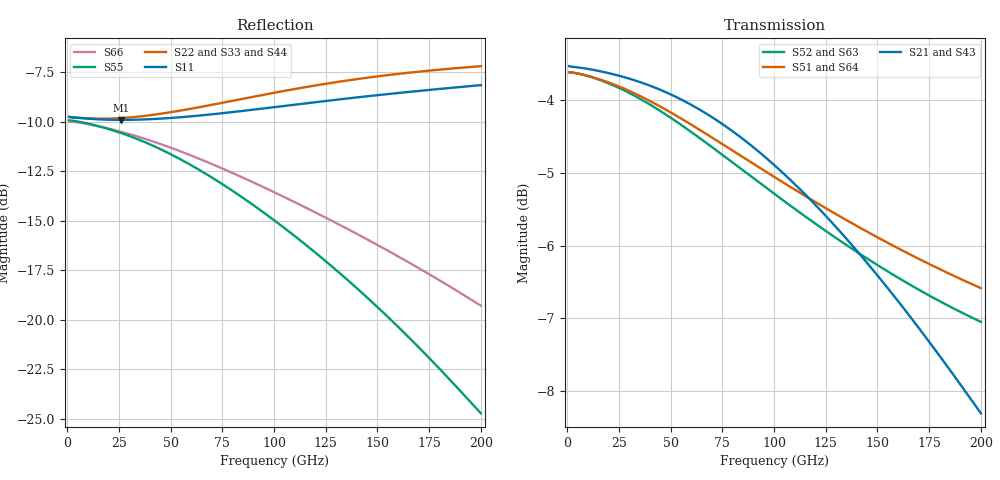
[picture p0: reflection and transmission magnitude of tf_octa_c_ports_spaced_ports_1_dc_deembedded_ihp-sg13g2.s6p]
! Created with skrf 1.9.0 (http://scikit-rf.org).
# GHz S DB R 50.0
!freq dBS11 angS11 dBS12 angS12 dBS13 angS13
! dBS14 angS14 dBS15 angS15 dBS16 angS16
! dBS21 angS21 dBS22 angS22 dBS23 angS23
! dBS24 angS24 dBS25 angS25 dBS26 angS26
! dBS31 angS31 dBS32 angS32 dBS33 angS33
! dBS34 angS34 dBS35 angS35 dBS36 angS36
! dBS41 angS41 dBS42 angS42 dBS43 angS43
! dBS44 angS44 dBS45 angS45 dBS46 angS46
! dBS51 angS51 dBS52 angS52 dBS53 angS53
! dBS54 angS54 dBS55 angS55 dBS56 angS56
! dBS61 angS61 dBS62 angS62 dBS63 angS63
! dBS64 angS64 dBS65 angS65 dBS66 angS66
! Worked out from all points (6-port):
!   200 points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, 1 GHz to 200 GHz, reference 50 ohm
!   strongest paths, dB at 1 GHz, 51 GHz, 101 GHz, 151 GHz, 200 GHz:
!     S21: -3.5, -3.9, -4.9, -6.4, -8.3
!     S43: -3.6, -3.9, -4.9, -6.5, -8.7
!     S51: -3.6, -4.2, -5.1, -5.9, -6.6
!     S64: -3.6, -4.3, -5.3, -6.2, -6.9
!     S52: -3.6, -4.3, -5.3, -6.3, -7.0
!     S63: -3.6, -4.3, -5.4, -6.5, -7.4
!   lowest |S11| = -9.9 dB at 26 GHz (marker M1), VSWR 1.94, Z = 26.7 + j8.08 ohm
!   |S11| at or under -10 dB: nowhere
